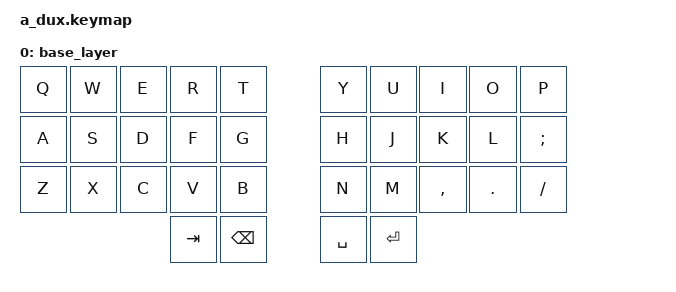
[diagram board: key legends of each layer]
/*
 * Copyright (c) 2021 The ZMK Contributors
 *
 * SPDX-License-Identifier: MIT
 */

#include <behaviors.dtsi>
#include <dt-bindings/zmk/keys.h>



/* adjusted  */
&kscan0 {
    input-gpios
    =       <&pro_micro  5 (GPIO_ACTIVE_LOW | GPIO_PULL_UP)>,
            <&pro_micro  0 (GPIO_ACTIVE_LOW | GPIO_PULL_UP)>,
            <&pro_micro 18 (GPIO_ACTIVE_LOW | GPIO_PULL_UP)>,
            <&pro_micro 16 (GPIO_ACTIVE_LOW | GPIO_PULL_UP)>,
            <&pro_micro 21 (GPIO_ACTIVE_LOW | GPIO_PULL_UP)>,
            <&pro_micro  8 (GPIO_ACTIVE_LOW | GPIO_PULL_UP)>,//orig6
            <&pro_micro  3 (GPIO_ACTIVE_LOW | GPIO_PULL_UP)>,
            <&pro_micro 19 (GPIO_ACTIVE_LOW | GPIO_PULL_UP)>,
            <&pro_micro 14 (GPIO_ACTIVE_LOW | GPIO_PULL_UP)>,
            <&pro_micro 20 (GPIO_ACTIVE_LOW | GPIO_PULL_UP)>,
            <&pro_micro  7 (GPIO_ACTIVE_LOW | GPIO_PULL_UP)>,
            <&pro_micro  4 (GPIO_ACTIVE_LOW | GPIO_PULL_UP)>,
            <&pro_micro  1 (GPIO_ACTIVE_LOW | GPIO_PULL_UP)>,
            <&pro_micro 15 (GPIO_ACTIVE_LOW | GPIO_PULL_UP)>,
            <&pro_micro 10 (GPIO_ACTIVE_LOW | GPIO_PULL_UP)>,
            <&pro_micro  6 (GPIO_ACTIVE_LOW | GPIO_PULL_UP)>,//orig8
            <&pro_micro  9 (GPIO_ACTIVE_LOW | GPIO_PULL_UP)>
    ;
};



/ {

    keymap {
        compatible = "zmk,keymap";

        // This is a sample keymap intended to be replaced with your own
        base_layer {
            bindings = <
                &kp Q     &kp W     &kp E     &kp R     &kp T     &kp Y     &kp U     &kp I     &kp O     &kp P
                &kp A     &kp S     &kp D     &kp F     &kp G     &kp H     &kp J     &kp K     &kp L     &kp SEMI
                &kp Z     &kp X     &kp C     &kp V     &kp B     &kp N     &kp M     &kp COMMA &kp DOT   &kp SLASH
                                              &kp TAB   &kp BSPC  &kp SPACE &kp ENTER
            >;
        };

    };
};
